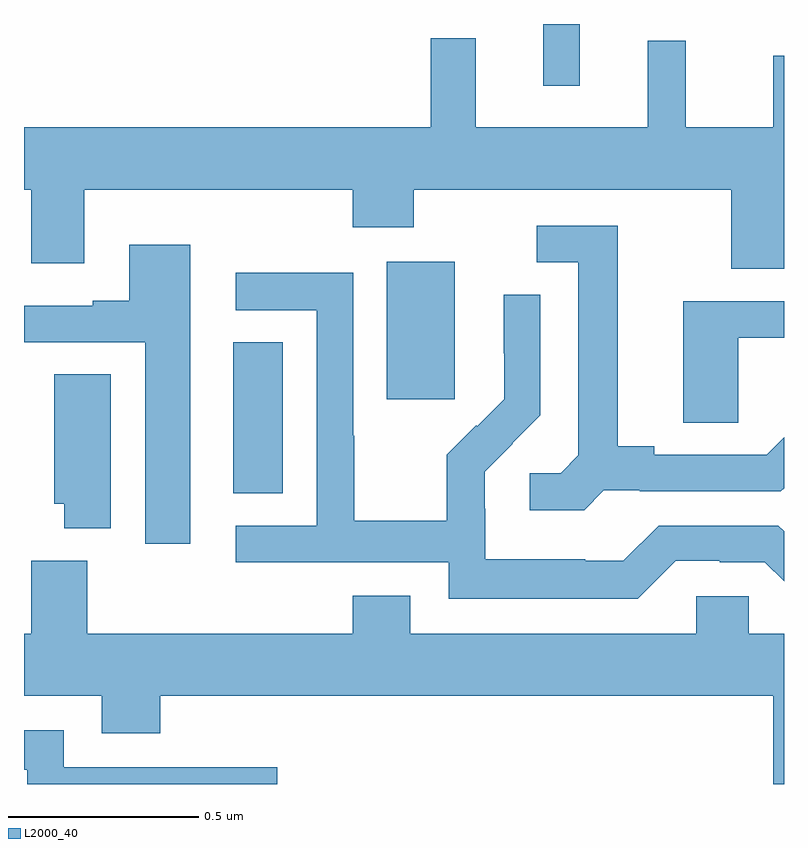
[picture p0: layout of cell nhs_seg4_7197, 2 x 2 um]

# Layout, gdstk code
import gdstk
lib = gdstk.Library(unit=1e-6, precision=1e-09)
def R(c, l, rs):  # rectangles x0, y0, x1, y1
    for r in rs: c.add(gdstk.rectangle(r[:2], r[2:], *l))
def P(c, l, *ps):  # polygons
    for p in ps: c.add(gdstk.Polygon(p, *l))
L2000_40 = (2000, 40)

nhs_seg4_7197 = lib.new_cell('nhs_seg4_7197')
R(nhs_seg4_7197, L2000_40, [(199.55,818.665,199.681,819.062), (199.955,818.913,200.134,819.274), (200.366,819.738,200.463,819.9)])
P(nhs_seg4_7197, L2000_40, [(201,819.817),(200.972,819.817),(200.972,819.628),(200.742,819.628),(200.742,819.856),(200.642,819.856),(200.642,819.628),(200.189,819.628),(200.189,819.862),(200.071,819.862),(200.071,819.628),(199,819.628),(199,819.464),(199.019,819.464),(199.019,819.27),(199.159,819.27),(199.159,819.464),(199.865,819.464),(199.865,819.365),(200.025,819.365),(200.025,819.464),(200.861,819.464),(200.861,819.256),(201,819.256)],
  [(200.526,818.673),(200.62,818.673),(200.62,818.67),(200.992,818.67),(201,818.678),(201,818.812),(200.954,818.766),(200.659,818.766),(200.659,818.789),(200.563,818.789),(200.563,819.369),(200.349,819.369),(200.349,819.273),(200.459,819.273),(200.459,818.765),(200.412,818.718),(200.331,818.718),(200.331,818.621),(200.474,818.621)],
  [(199.438,819.319),(199.277,819.319),(199.277,819.172),(199.181,819.172),(199.181,819.159),(199,819.159),(199,819.063),(199.319,819.063),(199.319,818.532),(199.438,818.532)],
  [(200.715,818.487),(200.831,818.487),(200.831,818.484),(200.949,818.484),(201,818.433),(201,818.565),(200.985,818.58),(200.67,818.58),(200.577,818.487),(200.477,818.487),(200.477,818.491),(200.214,818.491),(200.214,818.625),(200.212,818.625),(200.212,818.722),(200.286,818.796),(200.285,818.797),(200.358,818.87),(200.358,819.188),(200.262,819.188),(200.262,819.034),(200.264,819.034),(200.264,818.912),(200.193,818.841),(200.19,818.844),(200.113,818.767),(200.113,818.593),(199.869,818.593),(199.869,818.816),(199.866,818.816),(199.866,819.246),(199.557,819.246),(199.557,819.147),(199.77,819.147),(199.77,818.58),(199.557,818.58),(199.557,818.484),(200.118,818.484),(200.118,818.387),(200.615,818.387)],
  [(200.88,819.075),(201,819.075),(201,819.171),(200.735,819.171),(200.735,818.851),(200.88,818.851)],
  [(199.228,818.978),(199.079,818.978),(199.079,818.637),(199.106,818.637),(199.106,818.573),(199.228,818.573)],
  [(201,818.296),(200.907,818.296),(200.907,818.394),(200.769,818.394),(200.769,818.296),(200.017,818.296),(200.017,818.395),(199.865,818.395),(199.865,818.296),(199.167,818.296),(199.167,818.488),(199.019,818.488),(199.019,818.296),(199,818.296),(199,818.132),(199.205,818.132),(199.205,818.033),(199.358,818.033),(199.358,818.132),(200.972,818.132),(200.972,817.9),(201,817.9)],
  [(199.666,817.944),(199.104,817.944),(199.104,818.041),(199,818.041),(199,817.937),(199.008,817.937),(199.008,817.9),(199.666,817.9)])

lib.write_gds('nhs_seg4_7197.gds')
